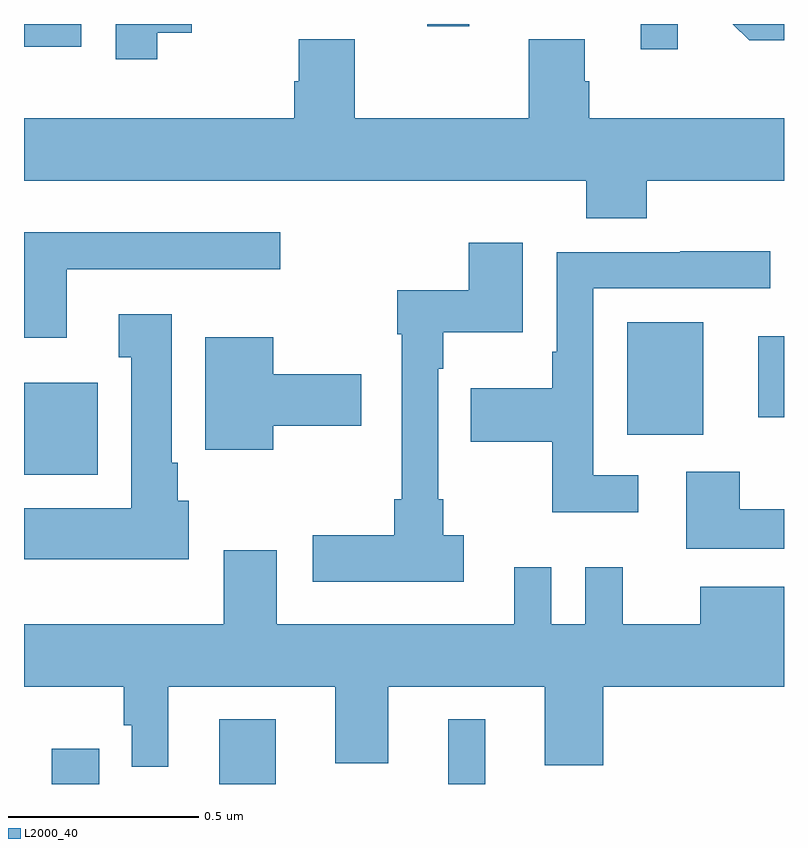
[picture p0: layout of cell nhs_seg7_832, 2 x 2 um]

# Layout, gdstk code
import gdstk
lib = gdstk.Library(unit=1e-6, precision=1e-09)
def R(c, l, rs):  # rectangles x0, y0, x1, y1
    for r in rs: c.add(gdstk.rectangle(r[:2], r[2:], *l))
def P(c, l, *ps):  # polygons
    for p in ps: c.add(gdstk.Polygon(p, *l))
L2000_40 = (2000, 40)

nhs_seg7_832 = lib.new_cell('nhs_seg7_832')
R(nhs_seg7_832, L2000_40, [(122.073,1027,122.198,1027.093), (122.514,1027,122.662,1027.171), (123.116,1027,123.214,1027.171), (122,1027.814,122.194,1028.056), (123.587,1027.919,123.787,1028.215), (123.932,1027.965,124,1028.178), (123.623,1028.934,123.72,1029), (122,1028.94,122.151,1029), (123.061,1028.994,123.172,1029)])
P(nhs_seg7_832, L2000_40, [(122.35,1028.977),(122.442,1028.977),(122.442,1029),(122.241,1029),(122.241,1028.907),(122.35,1028.907)],
  [(124,1029),(123.865,1029),(123.908,1028.957),(124,1028.957)],
  [(123.639,1028.588),(124,1028.588),(124,1028.752),(123.488,1028.752),(123.488,1028.85),(123.475,1028.85),(123.475,1028.96),(123.328,1028.96),(123.328,1028.752),(122.871,1028.752),(122.871,1028.96),(122.723,1028.96),(122.723,1028.85),(122.711,1028.85),(122.711,1028.752),(122,1028.752),(122,1028.588),(123.479,1028.588),(123.479,1028.489),(123.639,1028.489)],
  [(122.113,1028.355),(122.674,1028.355),(122.674,1028.452),(122,1028.452),(122,1028.174),(122.113,1028.174)],
  [(123.157,1027.654),(123.103,1027.654),(123.103,1027.75),(123.09,1027.75),(123.09,1028.093),(123.103,1028.093),(123.103,1028.189),(123.313,1028.189),(123.313,1028.425),(123.17,1028.425),(123.17,1028.299),(122.982,1028.299),(122.982,1028.183),(122.994,1028.183),(122.994,1027.75),(122.974,1027.75),(122.974,1027.654),(122.76,1027.654),(122.76,1027.532),(123.157,1027.532)],
  [(123.616,1027.812),(123.498,1027.812),(123.498,1028.304),(123.964,1028.304),(123.964,1028.402),(123.727,1028.402),(123.727,1028.4),(123.402,1028.4),(123.402,1028.137),(123.39,1028.137),(123.39,1028.041),(123.175,1028.041),(123.175,1027.901),(123.39,1027.901),(123.39,1027.715),(123.616,1027.715)],
  [(122.434,1027.746),(122.404,1027.746),(122.404,1027.846),(122.389,1027.846),(122.389,1028.236),(122.249,1028.236),(122.249,1028.123),(122.282,1028.123),(122.282,1027.726),(122,1027.726),(122,1027.592),(122.434,1027.592)],
  [(122.656,1027.943),(122.887,1027.943),(122.887,1028.078),(122.656,1028.078),(122.656,1028.176),(122.477,1028.176),(122.477,1027.88),(122.656,1027.88)],
  [(124,1027.723),(123.883,1027.723),(123.883,1027.822),(123.743,1027.822),(123.743,1027.619),(124,1027.619)],
  [(122.38,1027.256),(122.819,1027.256),(122.819,1027.054),(122.959,1027.054),(122.959,1027.256),(123.371,1027.256),(123.371,1027.05),(123.524,1027.05),(123.524,1027.256),(124,1027.256),(124,1027.519),(123.779,1027.519),(123.779,1027.42),(123.575,1027.42),(123.575,1027.57),(123.477,1027.57),(123.477,1027.42),(123.387,1027.42),(123.387,1027.57),(123.29,1027.57),(123.29,1027.42),(122.665,1027.42),(122.665,1027.615),(122.525,1027.615),(122.525,1027.42),(122,1027.42),(122,1027.256),(122.263,1027.256),(122.263,1027.155),(122.283,1027.155),(122.283,1027.046),(122.38,1027.046)])

lib.write_gds('nhs_seg7_832.gds')
